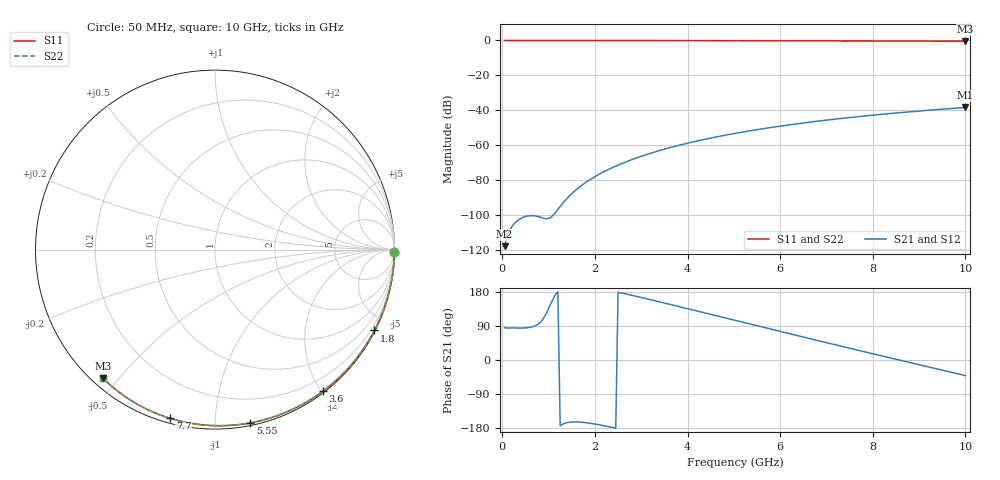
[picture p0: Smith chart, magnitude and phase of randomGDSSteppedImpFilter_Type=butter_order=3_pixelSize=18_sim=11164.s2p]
! freq	dB(S11)	phase(S11)	dB(S12)	phase(S12)
!  dB(S21)	phase(S21)	dB(S22)	phase(S22)
!S-par simulation data
#  GHz  S  DB  R 50
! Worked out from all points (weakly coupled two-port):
!   200 points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, 50 MHz to 10 GHz, reference 50 ohm
!   highest |S21| = -38.43 dB at 10 GHz (marker M1); lowest = -118.0 dB at 50 MHz (marker M2)
!   lowest |S11| = -0.4 dB at 10 GHz (marker M3), VSWR 39.11, Z = 1.54 - j22.7 ohm
!   |S11| at or under -10 dB: nowhere
!   |S22| runs from -0.4 to 0.0 dB; largest |S21 - S12| = 0
!   S11 on the Smith chart (normalised r, x): 50 MHz: open; 1.8 GHz: 0.04, -4.18; 3.6 GHz: 0.02, -2.02; 5.55 GHz: 0.02, -1.22; 7.7 GHz: 0.02, -0.77; 10 GHz: 0.03, -0.45
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0.05  -0.00 -0.8  -117.95 85.2  -117.95 85.2  -0.00 -0.8
0.9  -0.02 -13.6  -102.00 112.1  -102.00 112.1  -0.02 -13.6
1.75  -0.03 -26.2  -82.37 -164.7  -82.37 -164.7  -0.03 -26.2
1.8  -0.03 -26.9  -81.43 -165.4  -81.43 -165.4  -0.03 -26.9
1.85  -0.04 -27.6  -80.54 -166.2  -80.54 -166.2  -0.04 -27.6
1.9  -0.04 -28.4  -79.69 -167.1  -79.69 -167.1  -0.04 -28.4
2.05  -0.04 -30.5  -77.32 -170.1  -77.32 -170.1  -0.04 -30.5
2.25  -0.04 -33.4  -74.52 -174.7  -74.52 -174.7  -0.04 -33.4
2.45  -0.05 -36.3  -72.04 -179.8  -72.04 -179.8  -0.05 -36.3
2.65  -0.05 -39.2  -69.83 174.8  -69.83 174.8  -0.05 -39.2
3  -0.06 -44.2  -66.42 165.0  -66.42 165.0  -0.06 -44.2
3.4  -0.07 -49.8  -63.08 153.3  -63.08 153.3  -0.07 -49.8
3.6  -0.07 -52.6  -61.59 147.4  -61.59 147.4  -0.07 -52.6
4.3  -0.09 -62.1  -57.08 126.5  -57.08 126.5  -0.09 -62.1
5.05  -0.11 -72.1  -53.16 104.0  -53.16 104.0  -0.11 -72.1
5.55  -0.13 -78.5  -50.92 88.9  -50.92 88.9  -0.13 -78.6
6.1  -0.15 -85.5  -48.74 72.5  -48.74 72.5  -0.15 -85.5
6.7  -0.18 -92.9  -46.64 54.6  -46.64 54.6  -0.18 -92.9
7.7  -0.24 -104.9  -43.64 25.2  -43.64 25.2  -0.24 -104.9
8.35  -0.29 -112.5  -41.96 6.3  -41.96 6.3  -0.29 -112.5
9.15  -0.36 -121.6  -40.13 -16.8  -40.13 -16.8  -0.36 -121.6
10  -0.44 -131.2  -38.43 -41.2  -38.43 -41.2  -0.44 -131.2
